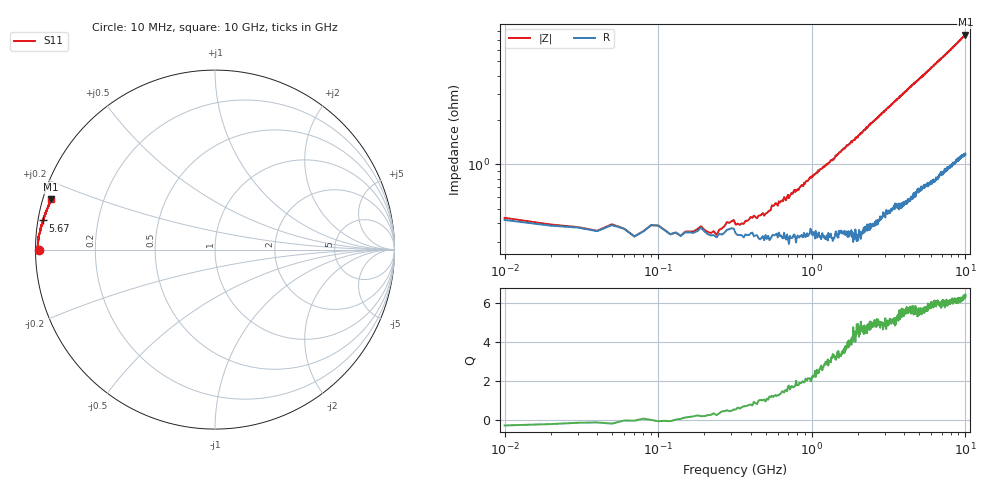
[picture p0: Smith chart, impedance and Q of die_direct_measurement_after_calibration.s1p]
!Keysight Technologies,N5247B,MY60213743,A.16.20.04
!Date: Wednesday, June 04, 2025 17:01:59
!Correction: S11(C  1-Port  )
!S1P File: Measurement: S11:
# Hz S  RI  R 50
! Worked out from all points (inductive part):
!   1000 points, 10 MHz to 10 GHz, reference 50 ohm
!   read as one part to ground: L = 121 pH near 1.23 GHz
!   highest Q = 6.44 at 10 GHz (marker M1), where L = 119 pH
!   S11 on the Smith chart (normalised r, x): 10 MHz: 0.01, -0.00; 5.67 GHz: 0.01, +0.08; 10 GHz: 0.02, +0.15
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1e7  -0.9833 -0.00429
1.2e8  -0.9866 -0.000538
4.9e8  -0.9877 0.013
6.1e8  -0.9861 0.0175
7.5e8  -0.987 0.0216
1.01e9  -0.9863 0.0298
1.26e9  -0.9864 0.0374
1.55e9  -0.9848 0.0463
1.99e9  -0.9853 0.0595
2.51e9  -0.9819 0.0756
3.53e9  -0.973 0.1045
3.76e9  -0.9727 0.1112
4.54e9  -0.9678 0.1334
4.88e9  -0.9631 0.1404
5.01e9  -0.9628 0.145
5.67e9  -0.9579 0.1624
6.26e9  -0.9534 0.1783
6.62e9  -0.9496 0.1883
6.92e9  -0.9461 0.1956
7.05e9  -0.946 0.1997
7.51e9  -0.9415 0.2111
7.61e9  -0.9391 0.2148
8.16e9  -0.9343 0.2286
8.27e9  -0.9326 0.2321
8.48e9  -0.9307 0.2371
8.76e9  -0.9267 0.2448
9.34e9  -0.921 0.2601
1e10  -0.9135 0.2801
